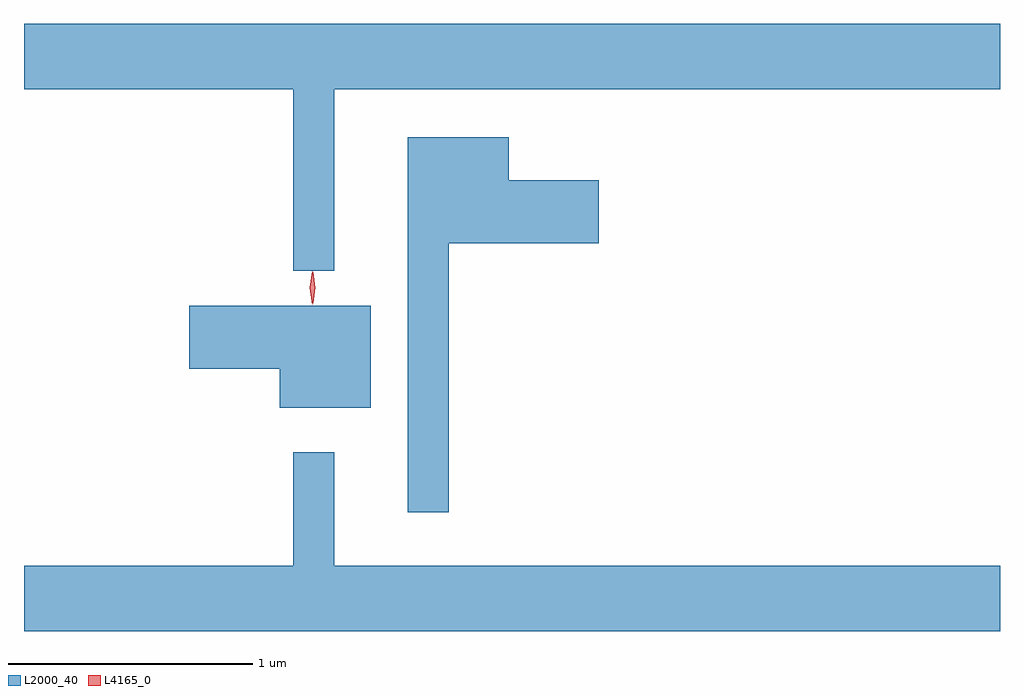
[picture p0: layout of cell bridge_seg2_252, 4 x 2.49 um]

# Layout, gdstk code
import gdstk
lib = gdstk.Library(unit=1e-6, precision=1e-09)
def P(c, l, *ps):  # polygons
    for p in ps: c.add(gdstk.Polygon(p, *l))
L2000_40 = (2000, 40)
L4165_0 = (4165, 0)

bridge_seg2_252 = lib.new_cell('bridge_seg2_252')
P(bridge_seg2_252, L2000_40, [(497.089,1048.316),(499.818,1048.316),(499.818,1048.584),(495.818,1048.584),(495.818,1048.316),(496.921,1048.316),(496.921,1047.573),(497.089,1047.573)],
  [(497.559,1047.686),(498.174,1047.686),(498.174,1047.944),(497.804,1047.944),(497.804,1048.119),(497.391,1048.119),(497.391,1046.583),(497.559,1046.583)],
  [(497.239,1047.429),(496.496,1047.429),(496.496,1047.171),(496.866,1047.171),(496.866,1047.011),(497.239,1047.011)],
  [(499.818,1046.364),(497.089,1046.364),(497.089,1046.828),(496.921,1046.828),(496.921,1046.364),(495.818,1046.364),(495.818,1046.096),(499.818,1046.096)])
P(bridge_seg2_252, L4165_0, [(497.002,1047.44),(497.002,1047.44),(496.992,1047.503),(497.002,1047.566),(497.002,1047.567),(497.003,1047.566),(497.012,1047.503),(497.003,1047.44)],
  [(496.999,1047.434),(496.99,1047.502),(496.999,1047.57),(497,1047.57),(497,1047.57),(497.01,1047.502),(497,1047.434),(497,1047.434)])

lib.write_gds('bridge_seg2_252.gds')
